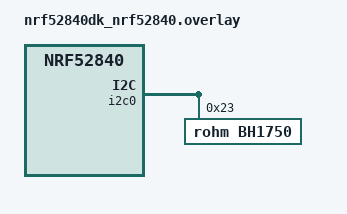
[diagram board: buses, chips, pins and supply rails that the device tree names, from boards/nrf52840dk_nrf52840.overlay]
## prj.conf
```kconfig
CONFIG_LOG=y
CONFIG_CBPRINTF_FP_SUPPORT=y
CONFIG_I2C=y
CONFIG_SENSOR=y
CONFIG_BH1750=y
```

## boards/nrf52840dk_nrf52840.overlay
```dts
// To get started, press Ctrl+Space to bring up the completion menu and view the available nodes.

// You can also use the buttons in the sidebar to perform actions on nodes.
// Actions currently available include:

// * Enabling / disabling the node
// * Adding the bus to a bus
// * Removing the node
// * Connecting ADC channels

// For more help, browse the DeviceTree documentation at https://docs.zephyrproject.org/latest/guides/dts/index.html
// You can also visit the nRF DeviceTree extension documentation at https://docs.nordicsemi.com/bundle/nrf-connect-vscode/page/guides/ncs_configure_app.html#devicetree-support-in-the-extension

&i2c0 {
	bh1750@23 {
		compatible = "rohm,bh1750";
		reg = <0x23>;
        resolution = <1>;
        
	};
};
```

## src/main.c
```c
/*
 * Projeto: Sensor BH1750
 * Autor: João Dullius
 * Licença: Apache-2.0
 */

 #include <zephyr/kernel.h>
 #include <zephyr/device.h>
 #include <zephyr/drivers/sensor.h>
 #include <zephyr/logging/log.h>
 
 LOG_MODULE_REGISTER(sensor_bh1750, LOG_LEVEL_DBG);
 
 static const struct device *init_sensor(void) {
     const struct device *dev = DEVICE_DT_GET_ANY(rohm_bh1750);
     
     if (!device_is_ready(dev)) {
         LOG_ERR("BH1750 não encontrado!");
         return NULL;
     }
     return dev;
 }
 
 static void read_sensor_data(const struct device *sensor) {
     struct sensor_value light;
 
     if (sensor_sample_fetch(sensor) < 0) {
         LOG_ERR("Falha ao obter amostra do sensor");
         return;
     }
 
     if (sensor_channel_get(sensor, SENSOR_CHAN_LIGHT, &light) < 0) {
         LOG_ERR("Falha ao obter dados do sensor");
         return;
     }
 
     LOG_INF("Luminosidade: %.3f lx", sensor_value_to_double(&light));
 }
 
 int main(void) {
     const struct device *sensor = init_sensor();
     if (!sensor) {
         return -1;
     }
 
     while (1) {
         read_sensor_data(sensor);
         k_sleep(K_SECONDS(1));
     }
     return 0;
 }
 
```
